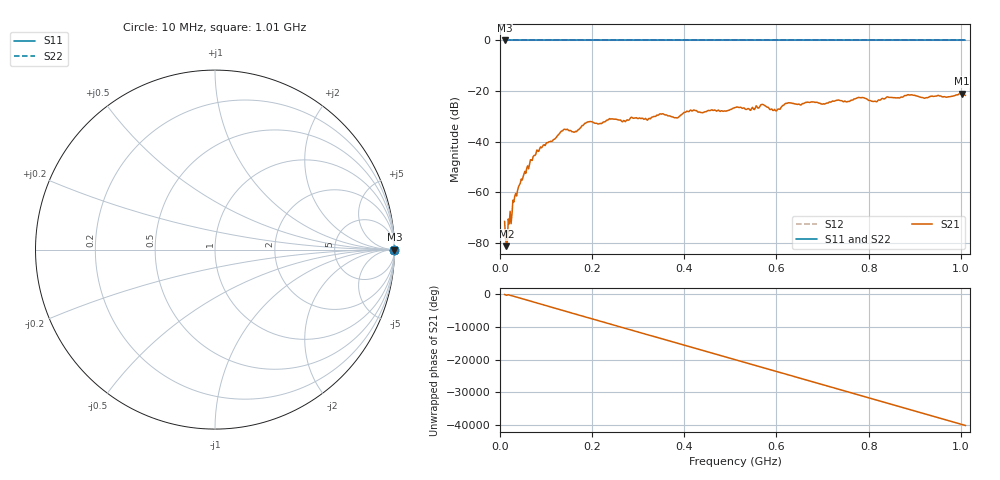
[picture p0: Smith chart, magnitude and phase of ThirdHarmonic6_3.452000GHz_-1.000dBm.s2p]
! 8/17/2025 11:09:23 AM
! C:\ANRITSUVNA\TEMP\TEMP.S2P
! CHANNEL.1
! TR.MEASUREMENT
! RAW.DATA
! RF.CORRECTION.OFF
! AVERAGING.OFF
! IF.BANDWIDTH: 5KHZ
! SWEEPTYPE:  FREQ.SWEEP(Linear)
! Reference Plane Port Info
! PORT:  PORT1  PORT2
! DISTANCE:  0  m  0  m
! TIME:  0  s  0  s
! PHASE.OFFSET:  0  deg.  0  deg.
! LOSS:  0  dB  0  dB
! REF.LOSS:  0  dB  0  dB
! REF.FREQ:  0  Hz  0  Hz
! Power Info
! POWER:  -20  dBm  -20  dBm
! EFF.POWER:  -20  dBm  -20  dBm
! SOURCE.ATTEN:  0  dB  0  dB
! TEST.ATTEN:  0  dB  0  dB
# GHZ S RI R 50.0
! FREQ.GHZ  S11RE  S11IM  S21RE  S21IM  S12RE  S12IM  S22RE  S22IM
!; PortSelection: Port_12
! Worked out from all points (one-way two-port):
!   501 points, 10 MHz to 1.01 GHz, reference 50 ohm
!   highest |S21| = -20.98 dB at 1.002 GHz (marker M1); lowest = -81.3 dB at 14 MHz (marker M2)
!   lowest |S11| = 0.0 dB at 10 MHz (marker M3)
!   |S11| at or under -10 dB: nowhere
!   |S22| runs from 0.0 to 0.0 dB; largest |S21 - S12| = 1.1
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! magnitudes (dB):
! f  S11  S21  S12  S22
! 10 MHz  0.0  -71.5  0.0  0.0
! 14 MHz  0.0  -81.3  0.0  0.0
! 16 MHz  0.0  -79.2  0.0  0.0
! 32 MHz  0.0  -61.6  0.0  0.0
! 50 MHz  0.0  -53.9  0.0  0.0
! 76 MHz  0.0  -45.4  0.0  0.0
! 136 MHz  0.0  -35.7  0.0  0.0
! 162 MHz  0.0  -36.2  0.0  0.0
! 178 MHz  0.0  -33.6  0.0  0.0
! 344 MHz  0.0  -29.5  0.0  0.0
! 382 MHz  0.0  -30.5  0.0  0.0
! 416 MHz  0.0  -27.9  0.0  0.0
! 510 MHz  0.0  -26.5  0.0  0.0
! 570 MHz  0.0  -25.3  0.0  0.0
! 596 MHz  0.0  -27.2  0.0  0.0
! 624 MHz  0.0  -24.8  0.0  0.0
! 678 MHz  0.0  -24.3  0.0  0.0
! 782 MHz  0.0  -22.6  0.0  0.0
! 814 MHz  0.0  -24.0  0.0  0.0
! 844 MHz  0.0  -22.5  0.0  0.0
! 1.002 GHz  0.0  -21.0  0.0  0.0
! 1.01 GHz  0.0  -21.7  0.0  0.0
